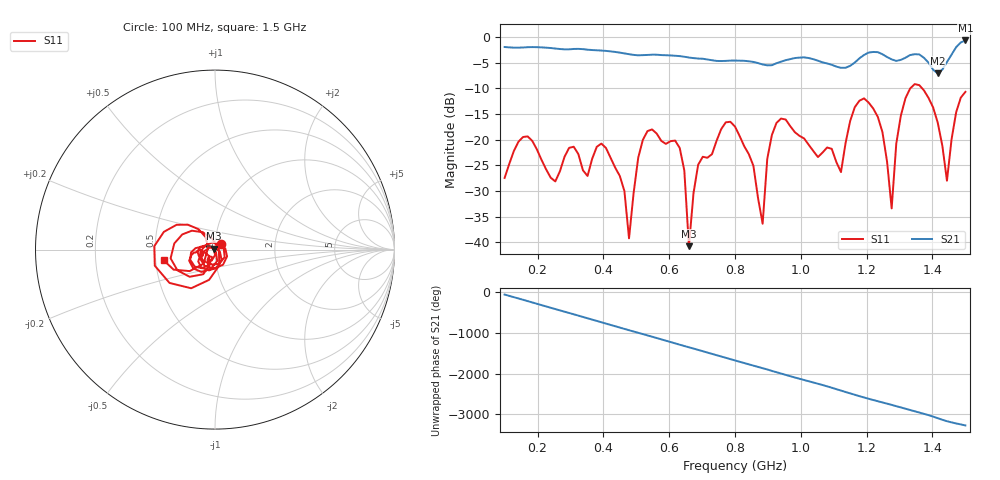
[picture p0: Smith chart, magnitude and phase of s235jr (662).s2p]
! NanoVNA-App
! Date: 2025-09-25 15:09:19
! Start: 100MHz Stop: 1,5GHz Points: 101
! S-Parameter data: F S11 S21 S12 S22
# Hz S RI R 50
!  Frequency  S11_Real  S11_Imag  S21_Real  S21_Imag  S12_Real  S12_Imag  S22_Real  S22_Imag
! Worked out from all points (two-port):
!   101 points, 100 MHz to 1.5 GHz, reference 50 ohm
!   highest |S21| = -0.69 dB at 1.5 GHz (marker M1); lowest = -7.1 dB at 1.416 GHz (marker M2)
!   |S21| within 3 dB of the highest: start of sweep to 622.5 MHz; 1.188 GHz to 1.256 GHz (67.78 MHz wide, 5.55 % of centre) (the widest 2 of 4)
!   lowest |S11| = -40.8 dB at 660 MHz (marker M3), VSWR 1.02, Z = 49.3 + j0.54 ohm
!   |S11| at or under -10 dB: start of sweep to 1.333 GHz; 1.368 GHz to end of sweep
!   S12 and S22 are empty: the file has one direction only
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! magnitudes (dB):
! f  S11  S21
! 100 MHz  -27.5  -2.0
! 170 MHz  -19.4  -2.0
! 338 MHz  -26.0  -2.4
! 408 MHz  -21.6  -2.7
! 478 MHz  -39.2  -3.4
! 520 MHz  -20.1  -3.5
! 576 MHz  -20.2  -3.5
! 632 MHz  -21.6  -3.7
! 660 MHz  -40.8  -4.0
! 688 MHz  -24.9  -4.2
! 800 MHz  -17.5  -4.6
! 884 MHz  -36.4  -5.4
! 926 MHz  -16.8  -5.1
! 1.038 GHz  -22.2  -4.3
! 1.122 GHz  -26.3  -6.0
! 1.192 GHz  -12.0  -3.5
! 1.248 GHz  -18.5  -3.4
! 1.276 GHz  -33.4  -4.4
! 1.332 GHz  -10.1  -3.5
! 1.416 GHz  -16.7  -7.1
! 1.444 GHz  -28.0  -4.9
! 1.5 GHz  -10.7  -0.7
